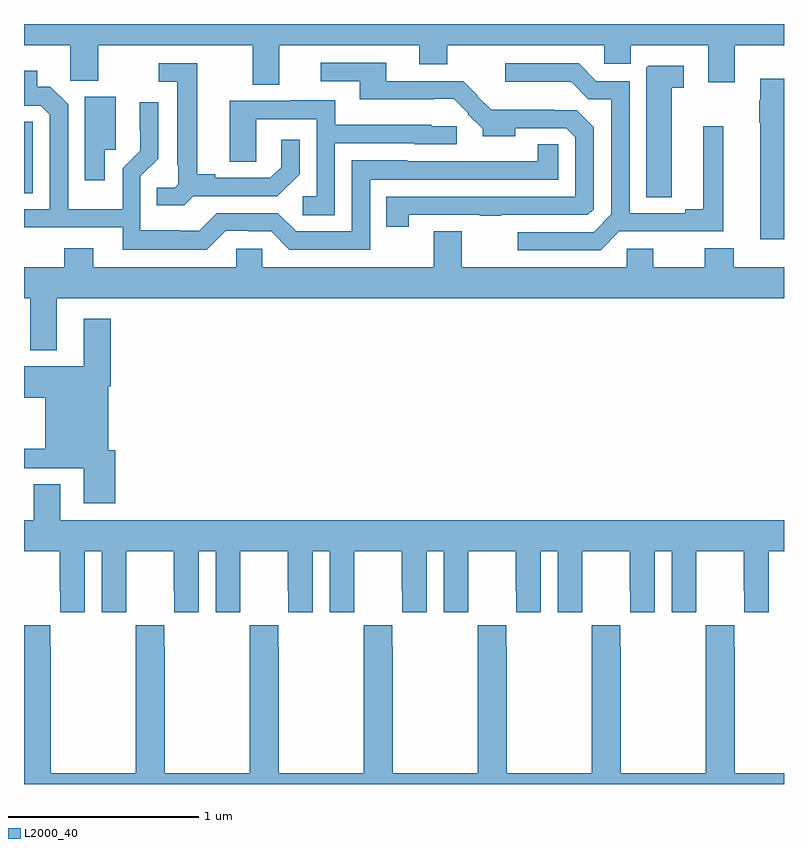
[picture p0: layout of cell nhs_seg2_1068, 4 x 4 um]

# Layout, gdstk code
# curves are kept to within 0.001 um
import gdstk
lib = gdstk.Library(unit=1e-6, precision=1e-09)
def P(c, l, *ps):  # polygons
    for p in ps: c.add(gdstk.Polygon(p, *l))
L2000_40 = (2000, 40)

nhs_seg2_1068 = lib.new_cell('nhs_seg2_1068')
P(nhs_seg2_1068, L2000_40, [(168.343,595.688),(169.079,595.688),(169.079,595.589),(169.227,595.589),(169.227,595.688),(170.055,595.688),(170.055,595.59),(170.194,595.59),(170.194,595.688),(170.6,595.688),(170.6,595.494),(170.74,595.494),(170.74,595.688),(171,595.688),(171,595.8),(167,595.8),(167,595.688),(167.244,595.688),(167.244,595.501),(167.391,595.501),(167.391,595.688),(168.203,595.688),(168.203,595.48),(168.343,595.48)],
  [(169.026,594.795),(169.399,594.795),(169.399,594.79),(169.511,594.79),(169.511,594.795),(169.968,594.795),(169.998,594.825),(169.998,595.257),(169.909,595.346),(169.793,595.346),(169.793,595.348),(169.459,595.348),(169.385,595.421),(169.387,595.423),(169.311,595.5),(168.907,595.5),(168.907,595.596),(168.561,595.596),(168.561,595.5),(168.767,595.5),(168.767,595.403),(169.16,595.403),(169.16,595.406),(169.262,595.406),(169.338,595.329),(169.335,595.326),(169.414,595.248),(169.414,595.208),(169.585,595.208),(169.585,595.251),(169.854,595.251),(169.902,595.203),(169.902,594.891),(168.907,594.891),(168.907,594.732),(169.026,594.732)],
  [(170.134,594.708),(170.68,594.708),(170.68,595.261),(170.576,595.261),(170.576,594.824),(170.48,594.824),(170.48,594.804),(170.187,594.804),(170.187,595.5),(170.013,595.5),(169.92,595.593),(169.533,595.593),(169.533,595.496),(169.879,595.496),(169.97,595.405),(170.091,595.405),(170.091,594.798),(169.998,594.705),(169.599,594.705),(169.599,594.609),(170.035,594.609)],
  [(167.892,594.894),(168.334,594.894),(168.45,595.01),(168.45,595.192),(168.353,595.192),(168.353,595.047),(168.296,594.99),(168.007,594.99),(168.007,595.01),(167.911,595.01),(167.911,595.593),(167.709,595.593),(167.709,595.497),(167.807,595.497),(167.807,595.057),(167.811,595.057),(167.811,594.957),(167.793,594.939),(167.698,594.939),(167.698,594.847),(167.844,594.847)],
  [(170.41,595.465),(170.473,595.465),(170.473,595.581),(170.286,595.581),(170.276,595.571),(170.276,594.889),(170.41,594.889)],
  [(168.063,594.711),(168.18,594.711),(168.18,594.708),(168.3,594.708),(168.396,594.612),(168.822,594.612),(168.822,594.981),(169.812,594.981),(169.812,595.166),(169.704,595.166),(169.704,595.078),(169.017,595.077),(169.017,595.084),(168.726,595.084),(168.726,594.708),(168.432,594.708),(168.336,594.804),(168.015,594.804),(167.922,594.711),(167.822,594.711),(167.822,594.715),(167.613,594.715),(167.613,594.999),(167.706,595.092),(167.706,595.387),(167.61,595.387),(167.61,595.24),(167.612,595.24),(167.612,595.134),(167.52,595.042),(167.52,594.826),(167.232,594.826),(167.232,595.377),(167.139,595.47),(167.071,595.47),(167.071,595.555),(167,595.555),(167,595.371),(167.088,595.371),(167.136,595.323),(167.136,594.825),(167,594.825),(167,594.729),(167.519,594.729),(167.519,594.611),(167.963,594.611)],
  [(171,595.513),(170.876,595.513),(170.876,595.4),(170.869,595.4),(170.869,595.281),(170.876,595.281),(170.876,594.666),(171,594.666)],
  [(167.425,595.137),(167.482,595.137),(167.482,595.416),(167.321,595.416),(167.321,594.978),(167.425,594.978)],
  [(168.636,595.173),(169.053,595.173),(169.053,595.167),(169.278,595.167),(169.278,595.263),(169.143,595.263),(169.143,595.27),(168.637,595.27),(168.637,595.399),(168.401,595.399),(168.401,595.395),(168.083,595.395),(168.083,595.075),(168.222,595.075),(168.222,595.299),(168.54,595.299),(168.54,594.894),(168.468,594.894),(168.468,594.793),(168.636,594.793)],
  [(167.047,595.178),(167.046,595.178),(167.046,595.286),(167,595.286),(167,594.91),(167.047,594.91)],
  [(167.173,594.356),(171,594.356),(171,594.52),(170.735,594.52),(170.735,594.619),(170.582,594.619),(170.582,594.52),(170.311,594.52),(170.311,594.618),(170.172,594.618),(170.172,594.52),(169.303,594.52),(169.303,594.71),(169.156,594.71),(169.156,594.52),(168.255,594.52),(168.255,594.618),(168.117,594.618),(168.117,594.52),(167.365,594.52),(167.365,594.619),(167.213,594.619),(167.213,594.52),(167,594.52),(167,594.356),(167.033,594.356),(167.033,594.083),(167.173,594.083)],
  [(167.48,593.556),(167.443,593.556),(167.443,593.894),(167.456,593.894),(167.456,594.25),(167.315,594.25),(167.315,593.998),(167,593.998),(167,593.834),(167.111,593.834),(167.111,593.564),(167,593.564),(167,593.463),(167.315,593.463),(167.315,593.277),(167.48,593.277)],
  [(167.051,593.188),(167,593.188),(167,593.024),(167.189,593.024),(167.189,592.816),(167.19,592.816),(167.19,592.704),(167.32,592.704),(167.32,593.024),(167.408,593.024),(167.408,592.704),(167.538,592.704),(167.538,592.816),(167.539,592.816),(167.539,593.024),(167.789,593.024),(167.789,592.816),(167.79,592.816),(167.79,592.704),(167.92,592.704),(167.92,593.024),(168.008,593.024),(168.008,592.704),(168.138,592.704),(168.138,592.816),(168.139,592.816),(168.139,593.024),(168.389,593.024),(168.389,592.816),(168.39,592.816),(168.39,592.704),(168.52,592.704),(168.52,593.024),(168.608,593.024),(168.608,592.704),(168.738,592.704),(168.738,592.816),(168.739,592.816),(168.739,593.024),(168.989,593.024),(168.989,592.816),(168.99,592.816),(168.99,592.704),(169.12,592.704),(169.12,593.024),(169.208,593.024),(169.208,592.704),(169.338,592.704),(169.338,592.816),(169.339,592.816),(169.339,593.024),(169.589,593.024),(169.589,592.816),(169.59,592.816),(169.59,592.704),(169.72,592.704),(169.72,593.024),(169.808,593.024),(169.808,592.704),(169.938,592.704),(169.938,592.816),(169.939,592.816),(169.939,593.024),(170.189,593.024),(170.189,592.816),(170.19,592.816),(170.19,592.704),(170.32,592.704),(170.32,593.024),(170.408,593.024),(170.408,592.704),(170.538,592.704),(170.538,592.816),(170.539,592.816),(170.539,593.024),(170.789,593.024),(170.789,592.816),(170.79,592.816),(170.79,592.704),(170.92,592.704),(170.92,593.024),(171,593.024),(171,593.188),(167.191,593.188),(167.191,593.378),(167.051,593.378)],
  [(167.139,592.523),(167.139,592.636),(167,592.636),(167,591.8),(171,591.8),(171,591.856),(170.742,591.856),(170.742,592.523),(170.739,592.523),(170.739,592.636),(170.589,592.636),(170.589,592.523),(170.587,592.523),(170.587,591.856),(170.142,591.856),(170.142,592.523),(170.139,592.523),(170.139,592.636),(169.989,592.636),(169.989,592.523),(169.987,592.523),(169.987,591.856),(169.542,591.856),(169.542,592.523),(169.539,592.523),(169.539,592.636),(169.389,592.636),(169.389,592.523),(169.387,592.523),(169.387,591.856),(168.942,591.856),(168.942,592.523),(168.939,592.523),(168.939,592.636),(168.789,592.636),(168.789,592.523),(168.787,592.523),(168.787,591.856),(168.342,591.856),(168.342,592.523),(168.339,592.523),(168.339,592.636),(168.189,592.636),(168.189,592.523),(168.187,592.523),(168.187,591.856),(167.742,591.856),(167.742,592.523),(167.739,592.523),(167.739,592.636),(167.589,592.636),(167.589,592.523),(167.587,592.523),(167.587,591.856),(167.142,591.856),(167.142,592.523)])

lib.write_gds('nhs_seg2_1068.gds')
